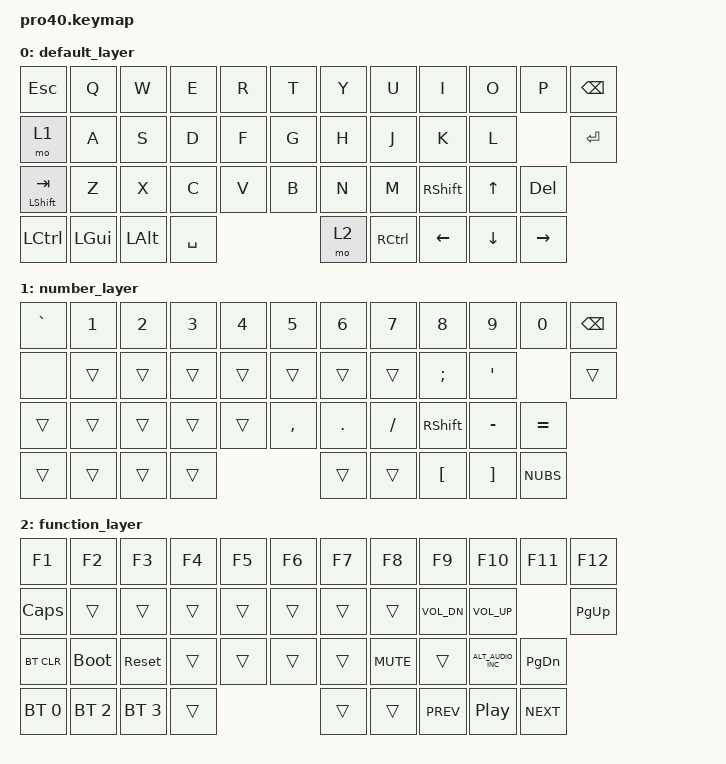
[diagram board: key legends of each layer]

#include <behaviors.dtsi>
#include <dt-bindings/zmk/keys.h>
#include <dt-bindings/zmk/bt.h>

/ {
	behaviors {
		ht: hold_tap {
			compatible = "zmk,behavior-hold-tap";
			label = "Hold_Tap";
			#binding-cells = <2>;
			tapping-term-ms = <200>;
			flavor = "tap-preferred";
			bindings = <&kp>, <&kp>;
		};
	};

	keymap {
		compatible = "zmk,keymap";

		default_layer {
			bindings = <
&kp ESC         &kp Q      &kp W      &kp E       &kp R     &kp T    &kp Y    &kp U       &kp I        &kp O      &kp P      &kp BSPC
&mo 1           &kp A      &kp S      &kp D       &kp F     &kp G    &kp H    &kp J       &kp K        &kp L                 &kp ENTER
&ht LSHFT TAB   &kp Z      &kp X      &kp C       &kp V     &kp B    &kp N    &kp M       &kp RSHFT    &kp UP     &kp DEL
&kp LCTRL       &kp LGUI   &kp LALT   &kp SPACE                      &mo 2    &kp RCTRL   &kp LEFT     &kp DOWN   &kp RIGHT
			>;
		};

		number_layer {
			bindings = <
&kp GRAVE    &kp N1     &kp N2     &kp N3     &kp N4    &kp N5      &kp N6    &kp N7        &kp N8      &kp N9     &kp N0     &kp BSPC 
&none        &trans     &trans     &trans     &trans    &trans      &trans    &trans        &kp SEMI    &kp SQT               &trans    
&trans       &trans     &trans     &trans     &trans    &kp COMMA   &kp DOT   &kp SLASH     &kp RSHFT   &kp MINUS  &kp EQUAL          
&trans       &trans     &trans     &trans                            &trans    &trans        &kp LBKT    &kp RBKT   &kp NUBS
			>;
		};

		function_layer {
			bindings = <
&kp F1 &kp F2  &kp F3       &kp F4       &kp F5     &kp F6  &kp F7 &kp F8 &kp F9        &kp F10       &kp F11        &kp F12
&kp CAPS       &trans       &trans       &trans     &trans  &trans &trans &trans        &kp C_VOL_DN  &kp C_VOL_UP   &kp PAGE_UP
&bt BT_CLR     &bootloader  &sys_reset   &trans     &trans  &trans &trans &kp C_MUTE    &trans        &kp C_ALT_AUDIO_INC        &kp PAGE_DOWN
&bt BT_SEL 0     &bt BT_SEL 2   &bt BT_SEL 3       &trans                    &trans &trans        &kp C_PREV    &kp C_PP       &kp C_NEXT
			>;
		};

	};
};
